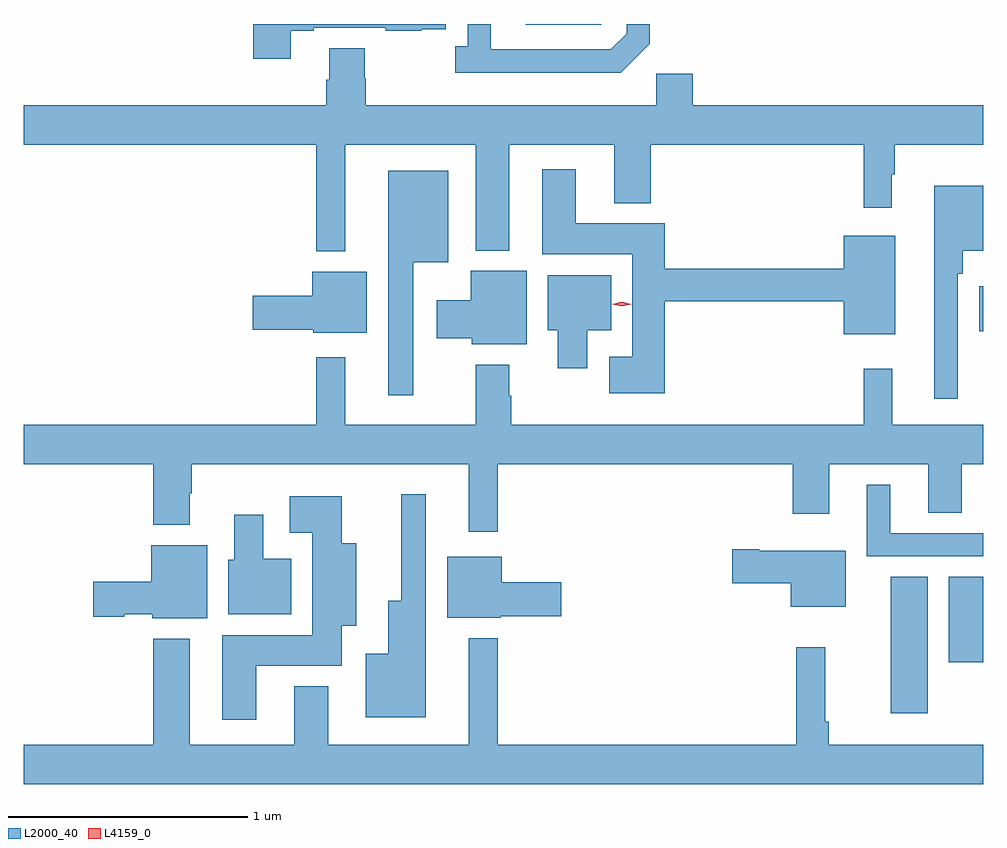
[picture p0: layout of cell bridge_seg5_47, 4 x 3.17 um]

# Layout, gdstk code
import gdstk
lib = gdstk.Library(unit=1e-6, precision=1e-09)
def R(c, l, rs):  # rectangles x0, y0, x1, y1
    for r in rs: c.add(gdstk.rectangle(r[:2], r[2:], *l))
def P(c, l, *ps):  # polygons
    for p in ps: c.add(gdstk.Polygon(p, *l))
L2000_40 = (2000, 40)
L4159_0 = (4159, 0)

bridge_seg5_47 = lib.new_cell('bridge_seg5_47')
R(bridge_seg5_47, L2000_40, [(774.941,837.075,775.096,837.644), (775.184,837.288,775.328,837.644), (775.31,838.667,775.328,838.855), (773.421,839.943,773.736,839.947), (774.026,839.945,774.213,839.947)])
P(bridge_seg5_47, L2000_40, [(772.441,839.919),(772.537,839.919),(772.537,839.931),(772.837,839.931),(772.837,839.919),(772.985,839.919),(772.985,839.925),(773.087,839.925),(773.087,839.947),(772.285,839.947),(772.285,839.802),(772.441,839.802)],
  [(773.937,839.865),(773.937,839.947),(773.841,839.947),(773.841,839.907),(773.775,839.841),(773.275,839.841),(773.275,839.947),(773.178,839.947),(773.178,839.854),(773.127,839.854),(773.127,839.744),(773.816,839.744)],
  [(772.669,839.444),(773.213,839.444),(773.213,839.003),(773.353,839.003),(773.353,839.444),(773.789,839.444),(773.789,839.201),(773.942,839.201),(773.942,839.444),(774.829,839.444),(774.829,839.181),(774.946,839.181),(774.946,839.321),(774.958,839.321),(774.958,839.444),(775.328,839.444),(775.328,839.608),(774.116,839.608),(774.116,839.74),(773.964,839.74),(773.964,839.608),(772.754,839.608),(772.754,839.721),(772.749,839.721),(772.749,839.846),(772.601,839.846),(772.601,839.714),(772.589,839.714),(772.589,839.608),(771.328,839.608),(771.328,839.444),(772.548,839.444),(772.548,839),(772.669,839)],
  [(773.999,838.792),(774.746,838.792),(774.746,838.655),(774.961,838.655),(774.961,839.065),(774.746,839.065),(774.746,838.928),(773.999,838.928),(773.999,839.116),(773.629,839.116),(773.629,839.341),(773.489,839.341),(773.489,838.988),(773.864,838.988),(773.864,838.561),(773.769,838.561),(773.769,838.409),(773.999,838.409)],
  [(772.951,838.955),(773.098,838.955),(773.098,839.335),(772.847,839.335),(772.847,838.401),(772.951,838.401)],
  [(775.221,838.907),(775.241,838.907),(775.241,839.003),(775.328,839.003),(775.328,839.272),(775.124,839.272),(775.124,838.386),(775.221,838.386)],
  [(773.425,838.918),(773.192,838.918),(773.192,838.795),(773.049,838.795),(773.049,838.637),(773.196,838.637),(773.196,838.613),(773.425,838.613)],
  [(772.759,838.915),(772.532,838.915),(772.532,838.814),(772.284,838.814),(772.284,838.672),(772.536,838.672),(772.536,838.661),(772.759,838.661)],
  [(773.677,838.67),(773.776,838.67),(773.776,838.9),(773.513,838.9),(773.513,838.67),(773.555,838.67),(773.555,838.512),(773.677,838.512)],
  [(773.305,838.112),(774.533,838.112),(774.533,837.906),(774.685,837.906),(774.685,838.112),(775.097,838.112),(775.097,837.91),(775.237,837.91),(775.237,838.112),(775.328,838.112),(775.328,838.276),(774.947,838.276),(774.947,838.51),(774.829,838.51),(774.829,838.276),(773.361,838.276),(773.361,838.397),(773.353,838.397),(773.353,838.528),(773.213,838.528),(773.213,838.276),(772.669,838.276),(772.669,838.558),(772.548,838.558),(772.548,838.276),(771.328,838.276),(771.328,838.112),(771.869,838.112),(771.869,837.86),(772.021,837.86),(772.021,837.992),(772.029,837.992),(772.029,838.112),(773.183,838.112),(773.183,837.831),(773.305,837.831)],
  [(775.328,837.825),(774.94,837.825),(774.94,838.027),(774.842,838.027),(774.842,837.729),(775.328,837.729)],
  [(773.005,837.988),(772.901,837.988),(772.901,837.544),(772.847,837.544),(772.847,837.322),(772.754,837.322),(772.754,837.059),(773.005,837.059)],
  [(772.297,837.272),(772.654,837.272),(772.654,837.44),(772.714,837.44),(772.714,837.784),(772.654,837.784),(772.654,837.979),(772.437,837.979),(772.437,837.827),(772.532,837.827),(772.532,837.4),(772.157,837.4),(772.157,837.048),(772.297,837.048)],
  [(772.444,837.718),(772.327,837.718),(772.327,837.901),(772.205,837.901),(772.205,837.714),(772.181,837.714),(772.181,837.488),(772.444,837.488)],
  [(772.093,837.775),(771.86,837.775),(771.86,837.623),(771.618,837.623),(771.618,837.476),(771.747,837.476),(771.747,837.488),(771.864,837.488),(771.864,837.47),(772.093,837.47)],
  [(774.754,837.751),(774.394,837.751),(774.394,837.759),(774.282,837.759),(774.282,837.617),(774.524,837.617),(774.524,837.518),(774.754,837.518)],
  [(773.316,837.479),(773.569,837.479),(773.569,837.621),(773.32,837.621),(773.32,837.727),(773.093,837.727),(773.093,837.473),(773.316,837.473)],
  [(775.328,836.944),(774.683,836.944),(774.683,837.04),(774.668,837.04),(774.668,837.349),(774.547,837.349),(774.547,836.944),(773.305,836.944),(773.305,837.388),(773.183,837.388),(773.183,836.944),(772.597,836.944),(772.597,837.187),(772.457,837.187),(772.457,836.944),(772.021,836.944),(772.021,837.385),(771.869,837.385),(771.869,836.944),(771.328,836.944),(771.328,836.78),(775.328,836.78)])
P(bridge_seg5_47, L4159_0, [(773.821,838.77),(773.781,838.78),(773.781,838.78),(773.781,838.78),(773.821,838.79),(773.86,838.78),(773.861,838.78),(773.86,838.78)])

lib.write_gds('bridge_seg5_47.gds')
